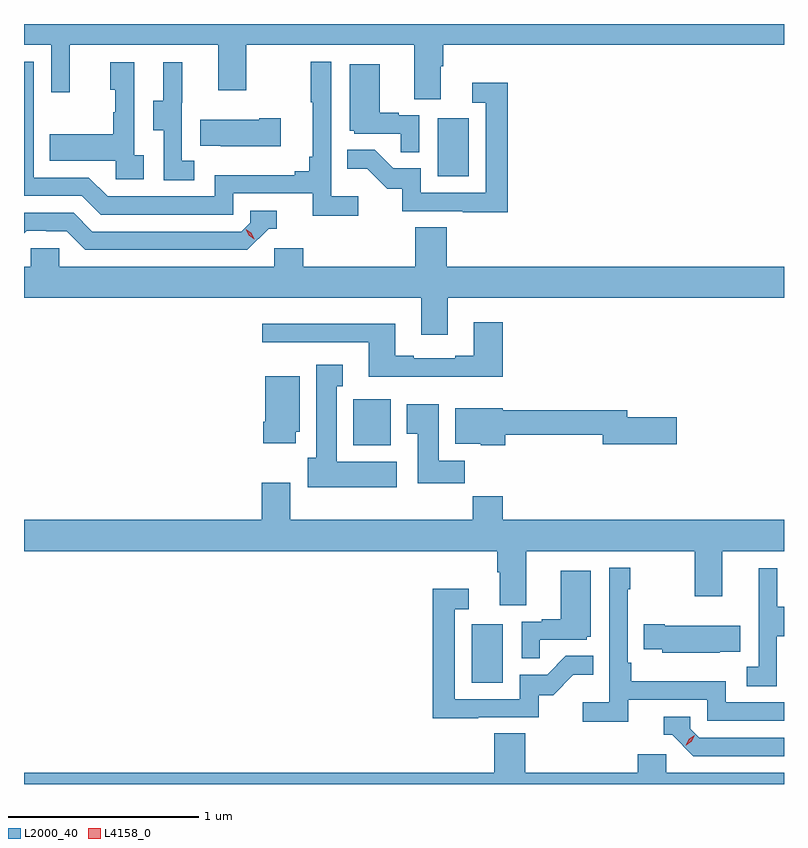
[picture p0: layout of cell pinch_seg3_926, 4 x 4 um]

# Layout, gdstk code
import gdstk
lib = gdstk.Library(unit=1e-6, precision=1e-09)
def R(c, l, rs):  # rectangles x0, y0, x1, y1
    for r in rs: c.add(gdstk.rectangle(r[:2], r[2:], *l))
def P(c, l, *ps):  # polygons
    for p in ps: c.add(gdstk.Polygon(p, *l))
L2000_40 = (2000, 40)
L4158_0 = (4158, 0)

pinch_seg3_926 = lib.new_cell('pinch_seg3_926')
R(pinch_seg3_926, L2000_40, [(890.372,685.572,890.536,685.879), (889.748,686.822,889.945,687.064), (890.192,688.236,890.356,688.543)])
P(pinch_seg3_926, L2000_40, [(890.209,688.816),(890.222,688.816),(890.222,688.928),(892.015,688.928),(892.015,689.038),(888.015,689.038),(888.015,688.928),(888.159,688.928),(888.159,688.68),(888.257,688.68),(888.257,688.928),(889.037,688.928),(889.037,688.689),(889.185,688.689),(889.185,688.928),(890.069,688.928),(890.069,688.642),(890.209,688.642)],
  [(889.774,688.132),(889.632,688.132),(889.632,688.84),(889.524,688.84),(889.524,688.627),(889.535,688.627),(889.535,688.339),(889.516,688.339),(889.516,688.262),(889.439,688.262),(889.439,688.243),(889.02,688.243),(889.02,688.131),(888.456,688.131),(888.357,688.23),(888.066,688.23),(888.066,688.839),(888.015,688.839),(888.015,688.134),(888.32,688.134),(888.419,688.035),(889.116,688.035),(889.116,688.146),(889.535,688.146),(889.535,688.03),(889.774,688.03)],
  [(888.91,688.319),(888.846,688.319),(888.846,688.623),(888.848,688.623),(888.848,688.837),(888.749,688.837),(888.749,688.635),(888.695,688.635),(888.695,688.48),(888.75,688.48),(888.75,688.216),(888.91,688.216)],
  [(888.646,688.346),(888.594,688.346),(888.594,688.837),(888.47,688.837),(888.47,688.692),(888.496,688.692),(888.496,688.574),(888.486,688.574),(888.486,688.459),(888.151,688.459),(888.151,688.319),(888.498,688.319),(888.498,688.221),(888.646,688.221)],
  [(890.094,688.557),(889.988,688.557),(889.988,688.57),(889.888,688.57),(889.888,688.825),(889.73,688.825),(889.73,688.476),(889.752,688.476),(889.752,688.461),(889.999,688.461),(889.999,688.363),(890.094,688.363)],
  [(890.561,688.729),(890.373,688.729),(890.373,688.623),(890.445,688.623),(890.445,688.149),(890.103,688.149),(890.103,688.278),(889.959,688.278),(889.861,688.376),(889.717,688.376),(889.717,688.277),(889.821,688.277),(889.928,688.17),(890.005,688.17),(890.005,688.053),(890.323,688.053),(890.323,688.048),(890.561,688.048)],
  [(889.366,688.542),(889.253,688.542),(889.253,688.534),(888.943,688.534),(888.943,688.397),(889.051,688.397),(889.051,688.394),(889.366,688.394)],
  [(889.302,687.96),(889.345,687.96),(889.345,688.056),(889.206,688.056),(889.206,687.993),(889.158,687.945),(888.375,687.945),(888.276,688.044),(888.015,688.044),(888.015,687.937),(888.029,687.951),(888.132,687.951),(888.132,687.948),(888.239,687.948),(888.338,687.849),(889.191,687.849)],
  [(890.245,687.596),(892.015,687.596),(892.015,687.76),(890.24,687.76),(890.24,687.968),(890.075,687.968),(890.075,687.76),(889.484,687.76),(889.484,687.858),(889.332,687.858),(889.332,687.76),(888.201,687.76),(888.201,687.858),(888.051,687.858),(888.051,687.76),(888.015,687.76),(888.015,687.596),(890.105,687.596),(890.105,687.402),(890.245,687.402)],
  [(890.534,687.469),(890.381,687.469),(890.381,687.292),(890.285,687.292),(890.285,687.279),(890.065,687.279),(890.065,687.292),(889.969,687.292),(889.969,687.46),(889.269,687.46),(889.269,687.363),(889.829,687.363),(889.829,687.182),(890.534,687.182)],
  [(889.978,686.734),(889.66,686.734),(889.66,687.131),(889.693,687.131),(889.693,687.244),(889.553,687.244),(889.553,686.754),(889.508,686.754),(889.508,686.6),(889.978,686.6)],
  [(889.444,686.892),(889.465,686.892),(889.465,687.184),(889.286,687.184),(889.286,686.944),(889.274,686.944),(889.274,686.832),(889.444,686.832)],
  [(890.336,686.74),(890.197,686.74),(890.197,687.037),(890.03,687.037),(890.03,686.881),(890.087,686.881),(890.087,686.622),(890.336,686.622)],
  [(890.549,686.877),(891.062,686.877),(891.062,686.827),(891.451,686.827),(891.451,686.969),(891.19,686.969),(891.19,687.005),(890.536,687.005),(890.536,687.016),(890.285,687.016),(890.285,686.828),(890.418,686.828),(890.418,686.822),(890.549,686.822)],
  [(890.659,686.264),(891.544,686.264),(891.544,686.025),(891.691,686.025),(891.691,686.264),(892.015,686.264),(892.015,686.428),(890.534,686.428),(890.534,686.552),(890.377,686.552),(890.377,686.428),(889.417,686.428),(889.417,686.623),(889.265,686.623),(889.265,686.428),(888.015,686.428),(888.015,686.264),(890.507,686.264),(890.507,686.152),(890.519,686.152),(890.519,685.978),(890.659,685.978)],
  [(891.194,685.482),(891.612,685.482),(891.612,685.371),(892.015,685.371),(892.015,685.467),(891.708,685.467),(891.708,685.579),(891.212,685.579),(891.212,685.675),(891.192,685.675),(891.192,686.063),(891.205,686.063),(891.205,686.176),(891.096,686.176),(891.096,685.468),(890.955,685.468),(890.955,685.366),(891.194,685.366)],
  [(891.978,685.816),(892.015,685.816),(892.015,685.971),(891.979,685.971),(891.979,686.173),(891.881,686.173),(891.881,685.959),(891.882,685.959),(891.882,685.655),(891.819,685.655),(891.819,685.552),(891.978,685.552)],
  [(890.729,685.797),(890.976,685.797),(890.976,685.812),(890.998,685.812),(890.998,686.161),(890.84,686.161),(890.84,685.906),(890.741,685.906),(890.741,685.893),(890.634,685.893),(890.634,685.699),(890.729,685.699)],
  [(890.405,685.389),(890.724,685.389),(890.724,685.506),(890.8,685.506),(890.907,685.613),(891.011,685.613),(891.011,685.712),(890.867,685.712),(890.769,685.614),(890.625,685.614),(890.625,685.485),(890.283,685.485),(890.283,685.959),(890.356,685.959),(890.356,686.065),(890.167,686.065),(890.167,685.384),(890.405,685.384)],
  [(891.677,685.733),(891.785,685.733),(891.785,685.87),(891.388,685.87),(891.388,685.878),(891.277,685.878),(891.277,685.748),(891.375,685.748),(891.375,685.73),(891.677,685.73)],
  [(892.015,685.281),(891.57,685.281),(891.522,685.329),(891.522,685.392),(891.383,685.392),(891.383,685.296),(891.426,685.296),(891.537,685.185),(892.015,685.185)],
  [(891.396,685.194),(891.245,685.194),(891.245,685.096),(890.654,685.096),(890.654,685.304),(890.489,685.304),(890.489,685.096),(888.015,685.096),(888.015,685.038),(892.015,685.038),(892.015,685.096),(891.396,685.096)])
P(pinch_seg3_926, L4158_0, [(891.499,685.242),(891.499,685.242),(891.515,685.275),(891.546,685.295),(891.546,685.295),(891.546,685.295),(891.53,685.262),(891.5,685.242)],
  [(889.228,687.906),(889.197,687.925),(889.181,687.958),(889.181,687.958),(889.181,687.958),(889.212,687.939),(889.228,687.906),(889.228,687.906)])

lib.write_gds('pinch_seg3_926.gds')
